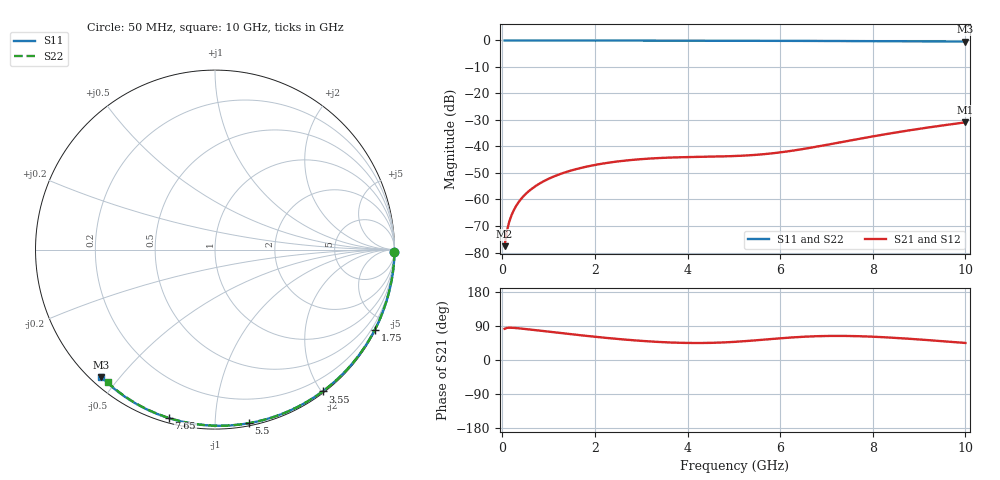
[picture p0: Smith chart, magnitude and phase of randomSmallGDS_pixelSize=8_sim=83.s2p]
! freq	dB(S11)	phase(S11)	dB(S12)	phase(S12)
!  dB(S21)	phase(S21)	dB(S22)	phase(S22)
!S-par simulation data
#  GHz  S  DB  R 50
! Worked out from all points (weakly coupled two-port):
!   200 points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, 50 MHz to 10 GHz, reference 50 ohm
!   highest |S21| = -30.90 dB at 10 GHz (marker M1); lowest = -77.6 dB at 50 MHz (marker M2)
!   lowest |S11| = -0.4 dB at 10 GHz (marker M3), VSWR 39.76, Z = 1.51 - j22.4 ohm
!   |S11| at or under -10 dB: nowhere
!   |S22| runs from -0.4 to 0.0 dB; largest |S21 - S12| = 0
!   S11 on the Smith chart (normalised r, x): 50 MHz: open; 1.75 GHz: 0.04, -4.22; 3.55 GHz: 0.02, -2.01; 5.5 GHz: 0.02, -1.21; 7.65 GHz: 0.02, -0.76; 10 GHz: 0.03, -0.45
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0.05  -0.00 -0.8  -77.61 82.4  -77.61 82.4  -0.00 -0.8
0.1  -0.00 -1.6  -71.84 84.8  -71.84 84.8  -0.00 -1.5
0.15  -0.00 -2.3  -68.37 85.2  -68.37 85.2  -0.00 -2.3
0.2  -0.00 -3.1  -65.89 85.1  -65.89 85.1  -0.00 -3.0
0.25  -0.00 -3.9  -63.97 84.7  -63.97 84.7  -0.00 -3.8
0.35  -0.00 -5.4  -61.07 83.7  -61.07 83.7  -0.00 -5.3
0.5  -0.01 -7.7  -58.01 81.8  -58.01 81.8  -0.01 -7.5
0.7  -0.01 -10.8  -55.15 79.0  -55.15 79.0  -0.01 -10.5
1  -0.02 -15.4  -52.19 74.8  -52.19 74.8  -0.02 -15.0
1.35  -0.03 -20.7  -49.80 69.9  -49.80 69.9  -0.03 -20.2
1.75  -0.03 -26.7  -47.88 64.5  -47.88 64.5  -0.03 -26.0
2.5  -0.05 -37.8  -45.63 55.4  -45.63 55.4  -0.05 -36.8
3.4  -0.07 -50.7  -44.35 47.5  -44.35 47.5  -0.07 -49.5
3.55  -0.07 -52.8  -44.23 46.6  -44.23 46.6  -0.07 -51.6
4.3  -0.09 -63.2  -43.90 44.9  -43.90 44.9  -0.09 -61.7
5.05  -0.11 -73.2  -43.58 48.1  -43.58 48.1  -0.11 -71.5
5.5  -0.13 -79.0  -43.12 52.2  -43.12 52.2  -0.12 -77.2
6.05  -0.15 -86.0  -42.12 57.7  -42.12 57.7  -0.15 -84.0
6.7  -0.18 -94.0  -40.34 62.4  -40.34 62.4  -0.18 -91.9
7.65  -0.23 -105.3  -37.30 63.0  -37.30 63.0  -0.23 -103.0
8.35  -0.28 -113.4  -35.15 59.3  -35.15 59.3  -0.28 -110.9
10  -0.44 -131.8  -30.90 45.0  -30.90 45.0  -0.43 -129.0
